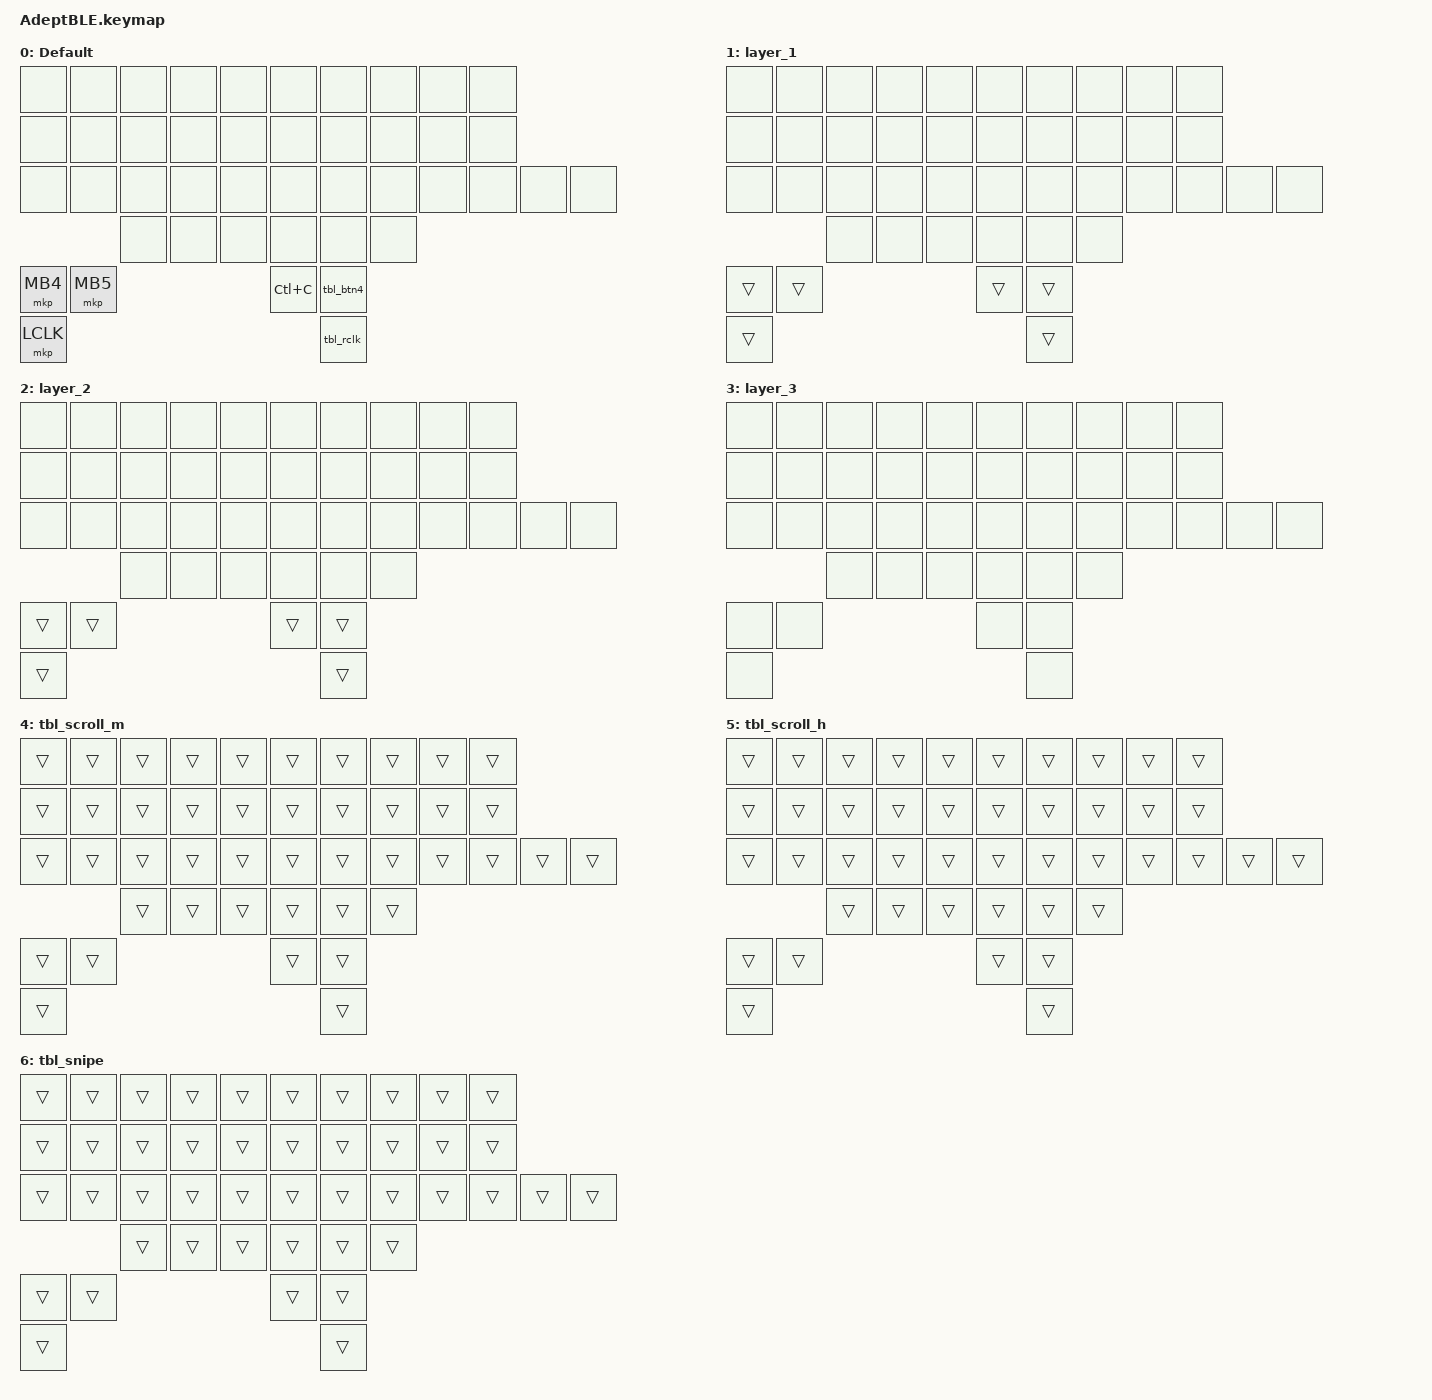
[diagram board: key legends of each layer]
#include <behaviors.dtsi>
#include <dt-bindings/zmk/bt.h>
#include <dt-bindings/zmk/keys.h>
#include <dt-bindings/zmk/pointing.h>

/ {
  combos {
    compatible = "zmk,combos";
    combo_rclk {
      timeout-ms = <75>;
      key-positions = <40 41>;
      bindings = <&mkp RCLK>;
    };
    combo_bootloader {
      timeout-ms = <75>;
      key-positions = <38 41>;
      bindings = <&bootloader>;
    };
  };
  behaviors {
    lth: layer_tap_hold {
      compatible = "zmk,behavior-hold-tap";
      #binding-cells = <2>;
      flavor = "hold-preferred";
      hold-while-undecided;
      tapping-term-ms = <150>;
      bindings = <&mo>, <&mkp>;
    };
    tbl_btn4: tbl_btn4 {
      compatible = "zmk,behavior-tap-dance";
      #binding-cells = <0>;
      tapping-term-ms = <250>;
      bindings = <&kp LC(V)>, <&tog 6>;
    };
    tbl_rclk: tbl_rclk {
      compatible = "zmk,behavior-tap-dance";
      #binding-cells = <0>;
      tapping-term-ms = <250>;
      bindings = <&lth 4 RCLK>, <&tog 5>;
    };
  };
  keymap {
    compatible = "zmk,keymap";

    // Layer 0: Default
    default_layer {
      display-name = "Default";
      bindings = <
        // Totem positions 0-37 (not physically present on AdeptBLE)
        &none &none &none &none &none &none &none &none &none &none
        &none &none &none &none &none &none &none &none &none &none
        &none &none &none &none &none &none &none &none &none &none &none &none
                    &none &none &none &none &none &none
        // AdeptBLE buttons (positions 38-43)
        &mkp MB4   &mkp MB5   &kp LC(C)   &tbl_btn4
        &mkp LCLK                          &tbl_rclk
      >;
    };

    // Layer 1 (totem layer_1)
    layer_1 {
      bindings = <
        &none &none &none &none &none &none &none &none &none &none
        &none &none &none &none &none &none &none &none &none &none
        &none &none &none &none &none &none &none &none &none &none &none &none
                    &none &none &none &none &none &none
        &trans &trans &trans &trans &trans &trans
      >;
    };

    // Layer 2 (totem layer_2)
    layer_2 {
      bindings = <
        &none &none &none &none &none &none &none &none &none &none
        &none &none &none &none &none &none &none &none &none &none
        &none &none &none &none &none &none &none &none &none &none &none &none
                    &none &none &none &none &none &none
        &trans &trans &trans &trans &trans &trans
      >;
    };

    // Layer 3 (totem device)
    layer_3 {
      bindings = <
        &none &none &none &none &none &none &none &none &none &none
        &none &none &none &none &none &none &none &none &none &none
        &none &none &none &none &none &none &none &none &none &none &none &none
                    &none &none &none &none &none &none
        &none &none &none &none &none &none
      >;
    };

    // Layer 4: Trackball scroll (momentary)
    tbl_scroll_m {
      bindings = <
        &trans &trans &trans &trans &trans &trans &trans &trans &trans &trans
        &trans &trans &trans &trans &trans &trans &trans &trans &trans &trans
        &trans &trans &trans &trans &trans &trans &trans &trans &trans &trans &trans &trans
                      &trans &trans &trans &trans &trans &trans
        &trans &trans &trans &trans &trans &trans
      >;
    };

    // Layer 5: Trackball scroll (toggle)
    tbl_scroll_h {
      bindings = <
        &trans &trans &trans &trans &trans &trans &trans &trans &trans &trans
        &trans &trans &trans &trans &trans &trans &trans &trans &trans &trans
        &trans &trans &trans &trans &trans &trans &trans &trans &trans &trans &trans &trans
                      &trans &trans &trans &trans &trans &trans
        &trans &trans &trans &trans &trans &trans
      >;
    };

    // Layer 6: Trackball snipe
    tbl_snipe {
      bindings = <
        &trans &trans &trans &trans &trans &trans &trans &trans &trans &trans
        &trans &trans &trans &trans &trans &trans &trans &trans &trans &trans
        &trans &trans &trans &trans &trans &trans &trans &trans &trans &trans &trans &trans
                      &trans &trans &trans &trans &trans &trans
        &trans &trans &trans &trans &trans &trans
      >;
    };
  };
};
